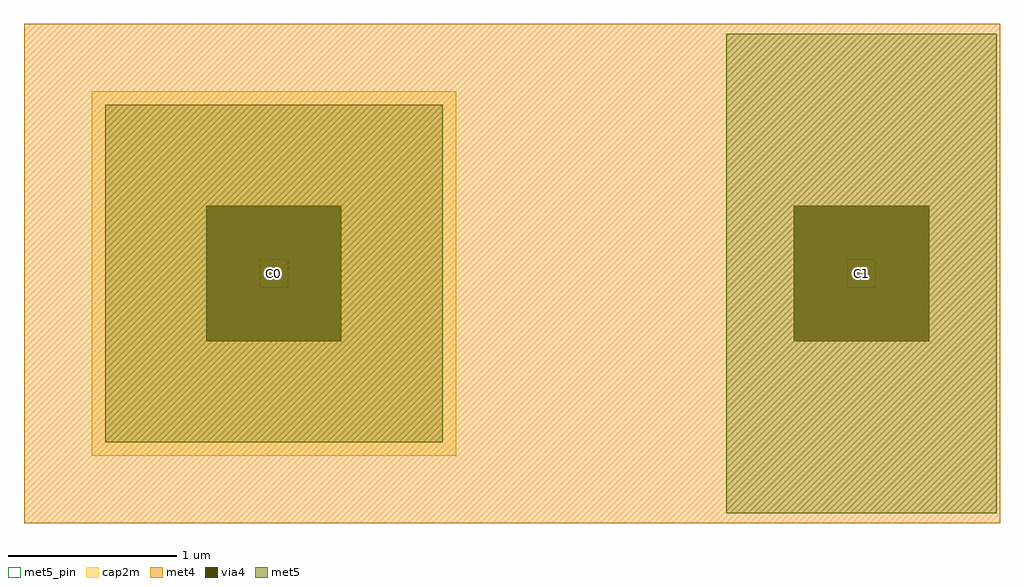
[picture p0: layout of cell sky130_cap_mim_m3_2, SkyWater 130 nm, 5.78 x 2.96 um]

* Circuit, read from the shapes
.subckt sky130_cap_mim_m3_2 C0 C1
XC1 C0 C1 sky130_fd_pr__cap_mim_m3_2 w=2.16 l=2.16
.ends

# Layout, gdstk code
import gdstk
lib = gdstk.Library(unit=1e-6, precision=1e-09)
def R(c, l, rs):  # rectangles x0, y0, x1, y1
    for r in rs: c.add(gdstk.rectangle(r[:2], r[2:], *l))
met4 = (71, 20)
via4 = (71, 44)
met5_pin = (72, 16)
met5 = (72, 20)
cap2m = (97, 44)

mim_cap = lib.new_cell('mim_cap')
R(mim_cap, met4, [(-0.4,-0.4,5.38,2.56)])
R(mim_cap, via4, [(0.68,0.68,1.48,1.48), (4.16,0.68,4.96,1.48)])
R(mim_cap, met5, [(3.76,-0.34,5.36,2.5), (0.08,0.08,2.08,2.08)])
R(mim_cap, cap2m, [(0,0,2.16,2.16)])

sky130_cap_mim_m3_2 = lib.new_cell('sky130_cap_mim_m3_2')
R(sky130_cap_mim_m3_2, met5_pin, [(0.995,0.995,1.165,1.165), (4.475,0.995,4.645,1.165)])
sky130_cap_mim_m3_2.add(gdstk.Reference(mim_cap, (0,0)))
sky130_cap_mim_m3_2.add(gdstk.Label('C0', (1.08,1.08), layer=72, texttype=5))
sky130_cap_mim_m3_2.add(gdstk.Label('C1', (4.56,1.08), layer=72, texttype=5))

lib.write_gds('sky130_cap_mim_m3_2.gds')
